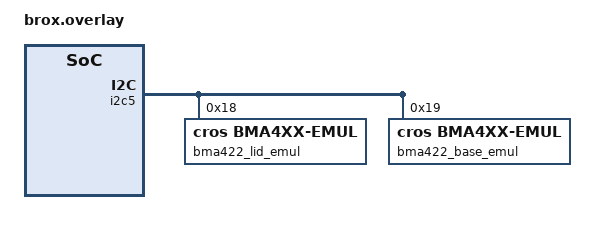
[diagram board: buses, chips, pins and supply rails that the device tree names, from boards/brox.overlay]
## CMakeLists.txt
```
# Copyright 2024 The ChromiumOS Authors
# Use of this source code is governed by a BSD-style license that can be
# found in the LICENSE file.

cmake_minimum_required(VERSION 3.20.0)

find_package(Zephyr REQUIRED HINTS "${ZEPHYR_BASE}")
project(motion_sense)
```

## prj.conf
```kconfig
# Copyright 2024 The ChromiumOS Authors
# Use of this source code is governed by a BSD-style license that can be
# found in the LICENSE file.

CONFIG_TEST=y
CONFIG_EMUL=y
CONFIG_ASSERT=y

# C++ configs:
CONFIG_CPP=y
CONFIG_REQUIRES_FULL_LIBCPP=y
CONFIG_STD_CPP20=y

CONFIG_PIGWEED_ASSERT=y

# Enable logging (needed to capture gTest output)
CONFIG_LOG=y
CONFIG_LOG_MODE_MINIMAL=y
CONFIG_PIGWEED_LOG_ZEPHYR=y
CONFIG_PIGWEED_SYS_IO=y

# Power sequencing is needed to get to S0
#CONFIG_PLATFORM_EC_HOSTCMD=y
#CONFIG_PLATFORM_EC_POWER_BUTTON=y
#CONFIG_PLATFORM_EC_POWERSEQ=y

CONFIG_SENSOR=y
CONFIG_SENSOR_ASYNC_API=y

CONFIG_PLATFORM_EC=y
CONFIG_CROS_EC=y
CONFIG_SHIMMED_TASKS=y

CONFIG_PLATFORM_EC_ACCEL_FIFO=y
CONFIG_PLATFORM_EC_SENSOR_TIGHT_TIMESTAMPS=y

# Console
CONFIG_PLATFORM_EC_CONSOLE_DEBUG=y
CONFIG_PLATFORM_EC_CONSOLE_CMD_ACCELS=y
CONFIG_SHELL_BACKEND_DUMMY=y
CONFIG_SHELL_BACKEND_SERIAL=n
CONFIG_SHELL_HELP=y
CONFIG_SERIAL=y
CONFIG_RING_BUFFER=y
```

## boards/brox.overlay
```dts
/* Copyright 2024 The ChromiumOS Authors
 * Use of this source code is governed by a BSD-style license that can be
 * found in the LICENSE file.
 */

#include <it8xxx2_emul.dts>

/* Arbitrage generates an incorrect node label when using alternate pins.
 * Create a 2nd node label on I2C3 as a workaround.
 * TODO: b/310227384 - I2C alternate selection not detected automatically.
 */
i2c3ALT: &i2c3 {
};

/ {
  gpio_interrupts: gpio-interrupts {
    compatible = "cros-ec,gpio-interrupts";
  };
};

#include "../../../program/brox/generated.dtsi"
#include "../../../program/brox/gpio.dtsi"
#include "../../../program/brox/interrupts_motionsense.dtsi"
#include "../../../program/brox/motionsense.dtsi"

&i2c5 {
		bma422_lid_emul: bma4xx@18 {
			compatible = "cros,bma4xx-emul";
			status = "okay";
			reg = <0x18>;
			motionsense-sensor = <&lid_accel>;
		};
		bma422_base_emul: bma4xx@19 {
			compatible = "cros,bma4xx-emul";
			status = "okay";
			reg = <0x19>;
			motionsense-sensor = <&base_accel>;
		};
};
```

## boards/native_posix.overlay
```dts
/* Copyright 2023 The ChromiumOS Authors
 * Use of this source code is governed by a BSD-style license that can be
 * found in the LICENSE file.
 */

/ {
	motionsense-mutex {
		compatible = "cros-ec,motionsense-mutex";
		mutex_bmi160: bmi160-mutex {
		};
	};
	motionsense-sensor-data {
		bmi160_data: bmi160-drv-data {
			compatible = "cros-ec,drvdata-bmi160";
			status = "okay";
			driver = <&accel_bmi160>;
		};
	};
	named-i2c-ports {
		compatible = "named-i2c-ports";
		named_i2c0: i2c0 {
			i2c-port = <&i2c0>;
			enum-names = "I2C_PORT_ACCEL";
		};
	};

	named-gpios {
		compatible = "named-gpios";
		/* unimplemented GPIOs */
		entering-rw {
			enum-name = "GPIO_ENTERING_RW";
		};
	};
	motionsense-sensor {
		base_accel: ms_bmi160_accel: ms-bmi160-accel {
			compatible = "cros-ec,bmi160-accel";
			status = "okay";

			active-mask = "SENSOR_ACTIVE_S0_S3_S5";
			location = "MOTIONSENSE_LOC_BASE";
			mutex = <&mutex_bmi160>;
			port = <&named_i2c0>;
			drv-data = <&bmi160_data>;
			default-range = <4>;
			i2c-spi-addr-flags = "BMI160_ADDR0_FLAGS";
			driver = <&accel_bmi160>;
		};

		base_gyro: ms_bmi160_gyro: ms-bmi160-gyro {
			compatible = "cros-ec,bmi160-gyro";
			status = "okay";

			location = "MOTIONSENSE_LOC_BASE";
			mutex = <&mutex_bmi160>;
			port = <&named_i2c0>;
			drv-data = <&bmi160_data>;
			default-range = <1000>; /* dps */
			i2c-spi-addr-flags = "BMI160_ADDR0_FLAGS";
			driver = <&accel_bmi160>;
		};
	};
};

&i2c0 {
	accel_bmi160: bmi160@68 {
		compatible = "bosch,bmi160";
		reg = <0x68>;
	};
};
```

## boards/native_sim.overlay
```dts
/* Copyright 2024 The ChromiumOS Authors
 * Use of this source code is governed by a BSD-style license that can be
 * found in the LICENSE file.
 */

/ {
  chosen {
		zephyr,shell-uart = &test_uart;
  };

	ec-console {
		compatible = "ec-console";
		disabled = "events", "lpc", "hostcmd";
	};

	test_uart: uart@55556666 {
	   compatible = "vnd,serial";
	   reg = <0x55556666 0x1000>;
	   status = "okay";
	   buffer-size = <200>;
	};
};
```

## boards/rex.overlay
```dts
/* Copyright 2024 The ChromiumOS Authors
 * Use of this source code is governed by a BSD-style license that can be
 * found in the LICENSE file.
 */

#include <program/rex/motionsense.dtsi>
#include <dt-bindings/gpio_defines.h>

/ {
  gpio-interrupts {
    compatible = "cros-ec,gpio-interrupts";

		int_imu: ec_imu {
			irq-pin = <&gpio_ec_imu_int_r_l>;
			flags = <GPIO_INT_EDGE_FALLING>;
			handler = "lsm6dso_interrupt";
		};
		int_als_rgb: ec_als_rgb {
			irq-pin = <&gpio_ec_als_rgb_int_r_l>;
			flags = <GPIO_INT_EDGE_FALLING>;
			handler = "tcs3400_interrupt";
		};
		int_accel: ec_accel {
			irq-pin = <&gpio_ec_accel_int_r_l>;
			flags = <GPIO_INT_EDGE_FALLING>;
			handler = "lis2dw12_interrupt";
		};
  };

  named-gpios {
    compatible = "named-gpios";
		gpio_ec_imu_int_r_l: ec_imu_int_r_l {
			gpios = <&gpio0 0 GPIO_INPUT>;
		};
		gpio_ec_als_rgb_int_r_l: ec_als_rgb_int_r_l {
			gpios = <&gpio0 1 GPIO_INPUT>;
		};
		gpio_ec_accel_int_r_l: ec_accel_int_r_l {
			gpios = <&gpio0 2 GPIO_INPUT>;
		};
    /* unimplemented GPIOs */
    entering-rw {
      enum-name = "GPIO_ENTERING_RW";
    };
  };

  named-i2c-ports {
    compatible = "named-i2c-ports";
    i2c_ec_i2c_sensor_scl_r: ec_i2c_sensor {
      i2c-port = <&i2c0>;
      enum-names = "I2C_PORT_SENSOR";
    };
  };
};

&i2c0 {
  lis2dw12_emul: lis2dw12@18 {
    compatible = "cros,lis2dw12-emul";
    status = "okay";
    reg = <0x18>;
  };
  lsm6dso_emul: lsm6dso@6a {
    compatible = "cros,lsm6dso-emul";
    status = "okay";
    reg = <0x6a>;
  };
};
```

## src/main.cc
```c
/* Copyright 2023 The ChromiumOS Authors
 * Use of this source code is governed by a BSD-style license that can be
 * found in the LICENSE file.
 */

#include "motion_sense.h"
#include "hooks.h"

#include <zephyr/kernel.h>

#include <gtest/gtest.h>
#include <pw_unit_test/logging_event_handler.h>
#include <pw_log/log.h>

static void main_init_hook()
{
	testing::InitGoogleTest(nullptr, nullptr);
	pw::unit_test::LoggingEventHandler handler;
	pw::unit_test::RegisterEventHandler(&handler);
	RUN_ALL_TESTS();
}
DECLARE_HOOK(HOOK_INIT, main_init_hook, HOOK_PRIO_LAST);

TEST(MotionSense, CheckSensorCount)
{
	EXPECT_EQ(motion_sensor_count, 2);
}
```

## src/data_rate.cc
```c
/* Copyright 2023 The ChromiumOS Authors.
 * Use of this source code is governed by a BSD-style license that can be
 * found in the LICENSE file.
 */

#include "accelgyro.h"
#include "bmi160.h"
#include "emul_bmi160.h"
#include "math_util.h"
#include "test/motion_sense/fixtures.h"

#include <gtest/gtest.h>

namespace
{
constexpr int kRoundDown = 0;
constexpr int kRoundUp = 1;
} /* namespace */

TEST_F(Bmi160, Accel_SetDataRate)
{
	uint8_t reg_value;

	for (int expected_reg_value = 1; expected_reg_value <= 12;
	     ++expected_reg_value) {
		int rate = 25000 * BIT(expected_reg_value - 1) / 32;

		EXPECT_EQ(EC_SUCCESS, ms_accel->drv->set_data_rate(
					      ms_accel, rate, kRoundDown))
			<< "rate=" << rate << ", rounding DOWN";
		EXPECT_EQ(0, emul_bmi160_get_reg_value(
				     emul, BMI160_REG_ACC_CONF, &reg_value, 1))
			<< "rate=" << rate << ", rounding DOWN";
		EXPECT_EQ(expected_reg_value,
			  FIELD_GET(BMI160_ACC_CONF_ODR_MASK, reg_value))
			<< "rate=" << rate << ", rounding DOWN";

		EXPECT_EQ(EC_SUCCESS, ms_accel->drv->set_data_rate(
					      ms_accel, rate + 1, kRoundDown))
			<< "rate=" << rate + 1 << ", rounding DOWN";
		EXPECT_EQ(0, emul_bmi160_get_reg_value(
				     emul, BMI160_REG_ACC_CONF, &reg_value, 1))
			<< "rate=" << rate + 1 << ", rounding DOWN";
		EXPECT_EQ(expected_reg_value,
			  FIELD_GET(BMI160_ACC_CONF_ODR_MASK, reg_value))
			<< "rate=" << rate + 1 << ", rounding DOWN";

		EXPECT_EQ(EC_SUCCESS, ms_accel->drv->set_data_rate(
					      ms_accel, rate - 1, kRoundUp))
			<< "rate=" << rate - 1 << ", rounding UP";
		EXPECT_EQ(0, emul_bmi160_get_reg_value(
				     emul, BMI160_REG_ACC_CONF, &reg_value, 1))
			<< "rate=" << rate - 1 << ", rounding UP";
		EXPECT_EQ(expected_reg_value,
			  FIELD_GET(BMI160_ACC_CONF_ODR_MASK, reg_value))
			<< "rate=" << rate - 1 << ", rounding UP";
	}
}

TEST_F(Bmi160, Accel_GetDataRate)
{
	for (int expected_reg_value = 1; expected_reg_value <= 12;
	     ++expected_reg_value) {
		int rate = 25000 * BIT(expected_reg_value - 1) / 32;

		EXPECT_EQ(EC_SUCCESS, ms_accel->drv->set_data_rate(
					      ms_accel, rate, kRoundDown))
			<< "rate=" << rate << ", rounding DOWN";
		EXPECT_EQ(rate, ms_accel->drv->get_data_rate(ms_accel))
			<< "rate=" << rate << ", rounding DOWN";
	}
}

TEST_F(Bmi160, Gyro_SetDataRate)
{
	uint8_t reg_value;

	for (int expected_reg_value = 6; expected_reg_value <= 13;
	     ++expected_reg_value) {
		int rate = 100000 * BIT(expected_reg_value) / 256;

		EXPECT_EQ(EC_SUCCESS, ms_gyro->drv->set_data_rate(ms_gyro, rate,
								  kRoundDown))
			<< "rate=" << rate << ", rounding DOWN";
		EXPECT_EQ(0, emul_bmi160_get_reg_value(
				     emul, BMI160_REG_GYR_CONF, &reg_value, 1))
			<< "rate=" << rate << ", rounding DOWN";
		EXPECT_EQ(expected_reg_value,
			  FIELD_GET(BMI160_GYR_CONF_ODR_MASK, reg_value))
			<< "rate=" << rate << ", rounding DOWN";

		EXPECT_EQ(EC_SUCCESS, ms_gyro->drv->set_data_rate(
					      ms_gyro, rate + 1, kRoundDown))
			<< "rate=" << rate + 1 << ", rounding DOWN";
		EXPECT_EQ(0, emul_bmi160_get_reg_value(
				     emul, BMI160_REG_GYR_CONF, &reg_value, 1))
			<< "rate=" << rate + 1 << ", rounding DOWN";
		EXPECT_EQ(expected_reg_value,
			  FIELD_GET(BMI160_GYR_CONF_ODR_MASK, reg_value))
			<< "rate=" << rate + 1 << ", rounding DOWN";

		EXPECT_EQ(EC_SUCCESS, ms_gyro->drv->set_data_rate(
					      ms_gyro, rate - 1, kRoundUp))
			<< "rate=" << rate - 1 << ", rounding UP";
		EXPECT_EQ(0, emul_bmi160_get_reg_value(
				     emul, BMI160_REG_GYR_CONF, &reg_value, 1))
			<< "rate=" << rate - 1 << ", rounding UP";
		EXPECT_EQ(expected_reg_value,
			  FIELD_GET(BMI160_GYR_CONF_ODR_MASK, reg_value))
			<< "rate=" << rate - 1 << ", rounding UP";
	}
}

TEST_F(Bmi160, Gyro_GetDataRate)
{
	for (int expected_reg_value = 6; expected_reg_value <= 13;
	     ++expected_reg_value) {
		int rate = 100000 * BIT(expected_reg_value) / 256;

		EXPECT_EQ(EC_SUCCESS, ms_gyro->drv->set_data_rate(ms_gyro, rate,
								  kRoundDown))
			<< "rate=" << rate << ", rounding DOWN";
		EXPECT_EQ(rate, ms_gyro->drv->get_data_rate(ms_gyro))
			<< "rate=" << rate << ", rounding DOWN";
	}
}
```

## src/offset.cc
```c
/* Copyright 2023 The ChromiumOS Authors.
 * Use of this source code is governed by a BSD-style license that can be
 * found in the LICENSE file.
 */

#include "accelgyro.h"
#include "bmi160.h"
#include "emul_bmi160.h"
#include "math_util.h"
#include "test/motion_sense/fixtures.h"

#include <zephyr/drivers/sensor_attribute_types.h>

#include <gtest/gtest.h>

TEST_F(Bmi160, Accel_GetOffset)
{
	struct sensor_three_axis_attribute offset = {
		.shift = 0,
		.x = round_divide(9.80665f * (int64_t)INT32_MAX, 10),
		.y = round_divide(9.80665f * (int64_t)INT32_MAX, 20),
		.z = round_divide(-9.80665f * (int64_t)INT32_MAX, 30),
	};

	/* Set emulator offset */
	ASSERT_EQ(0, emul_sensor_backend_set_attribute(
			     emul, SENSOR_CHAN_ACCEL_XYZ, SENSOR_ATTR_OFFSET,
			     &offset));

	/* Query the chip's accuracy */
	int epsilon_mg = get_accel_offset_epsilon(emul);

	int16_t ret_offsets[3];
	int16_t temperature;

	ASSERT_EQ(EC_SUCCESS, ms_accel->drv->get_offset(ms_accel, ret_offsets,
							&temperature));
	EXPECT_EQ(EC_MOTION_SENSE_INVALID_CALIB_TEMP, temperature);
	EXPECT_NEAR(100, ret_offsets[0], epsilon_mg);
	EXPECT_NEAR(50, ret_offsets[1], epsilon_mg);
	EXPECT_NEAR(-33, ret_offsets[2], epsilon_mg);

	const mat33_fp_t test_rotation = { { 0, FLOAT_TO_FP(1), 0 },
					   { FLOAT_TO_FP(-1), 0, 0 },
					   { 0, 0, FLOAT_TO_FP(-1) } };

	ms_accel->rot_standard_ref = &test_rotation;

	ASSERT_EQ(EC_SUCCESS, ms_accel->drv->get_offset(ms_accel, ret_offsets,
							&temperature));
	EXPECT_EQ(EC_MOTION_SENSE_INVALID_CALIB_TEMP, temperature);
	EXPECT_NEAR(-50, ret_offsets[0], epsilon_mg);
	EXPECT_NEAR(100, ret_offsets[1], epsilon_mg);
	EXPECT_NEAR(33, ret_offsets[2], epsilon_mg);
}

TEST_F(Bmi160, Gyro_GetOffset)
{
	struct sensor_three_axis_attribute offset = {
		.shift = 0,
		.x = round_divide(INT64_C(125) * 3.141593f * (int64_t)INT32_MAX,
				  180 * 100),
		.y = round_divide(INT64_C(125) * 3.141593f * (int64_t)INT32_MAX,
				  180 * 200),
		.z = round_divide(INT64_C(-125) * 3.141593f *
					  (int64_t)INT32_MAX,
				  180 * 300),
	};

	/* Set emulator offset */
	ASSERT_EQ(0, emul_sensor_backend_set_attribute(
			     emul, SENSOR_CHAN_GYRO_XYZ, SENSOR_ATTR_OFFSET,
			     &offset));

	/* Query the chip's accuracy */
	int epsilon_mdeg_per_s = get_gyro_offset_epsilon(emul);

	int16_t ret_offsets[3];
	int16_t temperature;

	ASSERT_EQ(EC_SUCCESS,
		  ms_gyro->drv->get_offset(ms_gyro, ret_offsets, &temperature));
	EXPECT_EQ(EC_MOTION_SENSE_INVALID_CALIB_TEMP, temperature);
	EXPECT_NEAR(1250, ret_offsets[0], epsilon_mdeg_per_s);
	EXPECT_NEAR(625, ret_offsets[1], epsilon_mdeg_per_s);
	EXPECT_NEAR(-416, ret_offsets[2], epsilon_mdeg_per_s);

	const mat33_fp_t test_rotation = { { 0, FLOAT_TO_FP(1), 0 },
					   { FLOAT_TO_FP(-1), 0, 0 },
					   { 0, 0, FLOAT_TO_FP(-1) } };

	ms_gyro->rot_standard_ref = &test_rotation;

	ASSERT_EQ(EC_SUCCESS,
		  ms_gyro->drv->get_offset(ms_gyro, ret_offsets, &temperature));
	EXPECT_EQ(EC_MOTION_SENSE_INVALID_CALIB_TEMP, temperature);
	EXPECT_NEAR(-625, ret_offsets[0], epsilon_mdeg_per_s);
	EXPECT_NEAR(1250, ret_offsets[1], epsilon_mdeg_per_s);
	EXPECT_NEAR(416, ret_offsets[2], epsilon_mdeg_per_s);
}

TEST_F(Bmi160, Accel_SetOffset)
{
	/* BMI driver accept value in mg units */
	int16_t input_v[3] = { 1000 / 10, 1000 / 20, -1000 / 30 };
	uint8_t reg_values[7];
	int16_t temp = 0;

	ASSERT_EQ(EC_SUCCESS,
		  ms_accel->drv->set_offset(ms_accel, input_v, temp));
	ASSERT_EQ(0, emul_bmi160_get_reg_value(emul, BMI160_REG_OFFSET_ACC_X,
					       reg_values, 7));
	EXPECT_EQ(0x19, reg_values[0]);
	EXPECT_EQ(0x0c, reg_values[1]);
	EXPECT_EQ(0xf8, reg_values[2]);
	EXPECT_EQ(0x00, reg_values[3]);
	EXPECT_EQ(0x00, reg_values[4]);
	EXPECT_EQ(0x00, reg_values[5]);
	EXPECT_EQ(BIT(BMI160_ACC_OFS_EN_POS), reg_values[6]);
}

TEST_F(Bmi160, Accel_SetOffset_MinMax)
{
	/* BMI driver accept value in mg units */
	int16_t input_v[3] = { INT16_MAX, INT16_MIN, 0 };
	uint8_t reg_values[7];
	int16_t temp = 0;

	ASSERT_EQ(EC_SUCCESS,
		  ms_accel->drv->set_offset(ms_accel, input_v, temp));
	ASSERT_EQ(0, emul_bmi160_get_reg_value(emul, BMI160_REG_OFFSET_ACC_X,
					       reg_values, 7));
	EXPECT_EQ(0x7f, reg_values[0]);
	EXPECT_EQ(0x80, reg_values[1]);
	EXPECT_EQ(0x00, reg_values[2]);
	EXPECT_EQ(0x00, reg_values[3]);
	EXPECT_EQ(0x00, reg_values[4]);
	EXPECT_EQ(0x00, reg_values[5]);
	EXPECT_EQ(BIT(BMI160_ACC_OFS_EN_POS), reg_values[6]);
}

TEST_F(Bmi160, Gyro_SetOffset)
{
	/* BMI driver accept value in mdeg/s units */
	int16_t input_v[3] = { 125000 / 100, 125000 / 200, -125000 / 300 };
	uint8_t reg_values[7];
	int16_t temp = 0;

	ASSERT_EQ(EC_SUCCESS, ms_gyro->drv->set_offset(ms_gyro, input_v, temp));
	ASSERT_EQ(0, emul_bmi160_get_reg_value(emul, BMI160_REG_OFFSET_ACC_X,
					       reg_values, 7));
	EXPECT_EQ(0x00, reg_values[0]);
	EXPECT_EQ(0x00, reg_values[1]);
	EXPECT_EQ(0x00, reg_values[2]);
	EXPECT_EQ(0x14, reg_values[3]);
	EXPECT_EQ(0x0a, reg_values[4]);
	EXPECT_EQ(0xfa, reg_values[5]);
	EXPECT_EQ(1, FIELD_GET(BIT(BMI160_GYR_OFS_EN_POS), reg_values[6]));
	EXPECT_EQ(0x03, FIELD_GET(BMI160_GYR_MSB_OFS_Z_MASK, reg_values[6]));
}

TEST_F(Bmi160, Gyro_SetOffset_MinMax)
{
	/* BMI driver accept value in mdeg/s units */
	int16_t input_v[3] = { INT16_MAX, INT16_MIN, 0 };
	uint8_t reg_values[7];
	int16_t temp = 0;

	ASSERT_EQ(EC_SUCCESS, ms_gyro->drv->set_offset(ms_gyro, input_v, temp));
	ASSERT_EQ(0, emul_bmi160_get_reg_value(emul, BMI160_REG_OFFSET_ACC_X,
					       reg_values, 7));
	EXPECT_EQ(0x00, reg_values[0]);
	EXPECT_EQ(0x00, reg_values[1]);
	EXPECT_EQ(0x00, reg_values[2]);
	EXPECT_EQ(0xff, reg_values[3]);
	EXPECT_EQ(0x00, reg_values[4]);
	EXPECT_EQ(0x00, reg_values[5]);
	EXPECT_EQ(1, FIELD_GET(BIT(BMI160_GYR_OFS_EN_POS), reg_values[6]));
	EXPECT_EQ(0x02, FIELD_GET(BMI160_GYR_MSB_OFS_Y_MASK, reg_values[6]));
}
```

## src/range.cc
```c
/* Copyright 2023 The ChromiumOS Authors.
 * Use of this source code is governed by a BSD-style license that can be
 * found in the LICENSE file.
 */

#include "accelgyro.h"
#include "bmi160.h"
#include "emul_bmi160.h"
#include "math_util.h"
#include "test/motion_sense/fixtures.h"

#include <gtest/gtest.h>

namespace
{
constexpr int kRoundDown = 0;
constexpr int kRoundUp = 1;
} /* namespace */

TEST_F(Bmi160, Accel_SetRange)
{
	uint8_t reg_value;

	for (int range_g = 2; range_g <= 16; range_g *= 2) {
		EXPECT_EQ(EC_SUCCESS, ms_accel->drv->set_range(
					      ms_accel, range_g, kRoundDown))
			<< "range=" << range_g << ", rounding DOWN";
		EXPECT_EQ(0, emul_bmi160_get_reg_value(
				     emul, BMI160_REG_ACC_RANGE, &reg_value, 1))
			<< "range=" << range_g << ", rounding DOWN";
		EXPECT_EQ(range_g, bmi160_acc_reg_val_to_range(reg_value))
			<< "reg_value=" << reg_value;

		EXPECT_EQ(EC_SUCCESS,
			  ms_accel->drv->set_range(ms_accel, range_g + 1,
						   kRoundDown))
			<< "range=" << range_g + 1 << ", rounding DOWN";
		EXPECT_EQ(0, emul_bmi160_get_reg_value(
				     emul, BMI160_REG_ACC_RANGE, &reg_value, 1))
			<< "range=" << range_g + 1 << ", rounding DOWN";
		EXPECT_EQ(range_g, bmi160_acc_reg_val_to_range(reg_value))
			<< "range=" << range_g + 1
			<< ", reg_value=" << reg_value;

		EXPECT_EQ(EC_SUCCESS, ms_accel->drv->set_range(
					      ms_accel, range_g - 1, kRoundUp))
			<< "range=" << range_g - 1 << ", rounding UP";
		EXPECT_EQ(0, emul_bmi160_get_reg_value(
				     emul, BMI160_REG_ACC_RANGE, &reg_value, 1))
			<< "range=" << range_g - 1 << ", rounding UP";
		EXPECT_EQ(range_g, bmi160_acc_reg_val_to_range(reg_value))
			<< "range=" << range_g - 1
			<< ", reg_value=" << reg_value;
	}
}

TEST_F(Bmi160, Gyro_SetRange)
{
	uint8_t reg_value;

	for (int range_deg_per_sec = 125; range_deg_per_sec <= 2000;
	     range_deg_per_sec *= 2) {
		EXPECT_EQ(EC_SUCCESS,
			  ms_gyro->drv->set_range(ms_gyro, range_deg_per_sec,
						  kRoundDown))
			<< "range=" << range_deg_per_sec << ", rounding DOWN";
		EXPECT_EQ(0, emul_bmi160_get_reg_value(
				     emul, BMI160_REG_GYR_RANGE, &reg_value, 1))
			<< "range=" << range_deg_per_sec << ", rounding DOWN";
		EXPECT_EQ(range_deg_per_sec,
			  bmi160_gyr_reg_val_to_range(reg_value))
			<< "reg_value=" << reg_value;

		EXPECT_EQ(EC_SUCCESS,
			  ms_gyro->drv->set_range(ms_gyro, range_deg_per_sec + 1,
						  kRoundDown))
			<< "range=" << range_deg_per_sec + 1 << ", rounding DOWN";
		EXPECT_EQ(0, emul_bmi160_get_reg_value(
				     emul, BMI160_REG_GYR_RANGE, &reg_value, 1))
			<< "range=" << range_deg_per_sec + 1 << ", rounding DOWN";
		EXPECT_EQ(range_deg_per_sec,
			  bmi160_gyr_reg_val_to_range(reg_value))
			<< "range=" << range_deg_per_sec + 1
			<< "reg_value=" << reg_value;

		EXPECT_EQ(EC_SUCCESS,
			  ms_gyro->drv->set_range(ms_gyro, range_deg_per_sec - 1,
						  kRoundUp))
			<< "range=" << range_deg_per_sec - 1 << ", rounding UP";
		EXPECT_EQ(0, emul_bmi160_get_reg_value(
				     emul, BMI160_REG_GYR_RANGE, &reg_value, 1))
			<< "range=" << range_deg_per_sec - 1 << ", rounding UP";
		EXPECT_EQ(range_deg_per_sec,
			  bmi160_gyr_reg_val_to_range(reg_value))
			<< "range=" << range_deg_per_sec - 1
			<< "reg_value=" << reg_value;
	}
}
```

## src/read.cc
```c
/* Copyright 2023 The ChromiumOS Authors.
 * Use of this source code is governed by a BSD-style license that can be
 * found in the LICENSE file.
 */

#include "accelgyro.h"
#include "bmi160.h"
#include "emul_bmi160.h"
#include "math_util.h"
#include "test/motion_sense/fixtures.h"

#include <zephyr/drivers/sensor.h>

#include <gtest/gtest.h>

namespace
{
constexpr int kRoundDown = 0;
constexpr double kGravity = 9.80665;
constexpr double kPi = 3.141592654;
} /* namespace */

TEST_F(Bmi160, Accel_Read)
{
	constexpr const int8_t kExpectedValueShift = 5;
	constexpr const q31_t kExpectedValues[] = {
		static_cast<q31_t>(-1.75 * kGravity *
				   BIT(31 - kExpectedValueShift)),
		static_cast<q31_t>(-0.11 * kGravity *
				   BIT(31 - kExpectedValueShift)),
		static_cast<q31_t>(1.88 * kGravity *
				   BIT(31 - kExpectedValueShift)),
	};
	intv3_t values_mg;

	ASSERT_EQ(EC_SUCCESS,
		  ms_accel->drv->set_range(ms_accel, 2, kRoundDown));
	ASSERT_EQ(0, emul_sensor_backend_set_channel(emul, SENSOR_CHAN_ACCEL_X,
						     &kExpectedValues[0],
						     kExpectedValueShift));
	ASSERT_EQ(0, emul_sensor_backend_set_channel(emul, SENSOR_CHAN_ACCEL_Y,
						     &kExpectedValues[1],
						     kExpectedValueShift));
	ASSERT_EQ(0, emul_sensor_backend_set_channel(emul, SENSOR_CHAN_ACCEL_Z,
						     &kExpectedValues[2],
						     kExpectedValueShift));
	ASSERT_EQ(EC_SUCCESS, ms_accel->drv->read(ms_accel, values_mg));

	EXPECT_NEAR(-1750, values_mg[0], 5);
	EXPECT_NEAR(-110, values_mg[1], 5);
	EXPECT_NEAR(1880, values_mg[2], 5);
}

TEST_F(Bmi160, Gyro_Read)
{
	constexpr const int8_t kExpectedValueShift = 3;
	constexpr const q31_t kExpectedValues[] = {
		static_cast<q31_t>(-125.0 * kPi *
				   BIT(31 - kExpectedValueShift) / 180.0),
		static_cast<q31_t>(-7.3 * kPi * BIT(31 - kExpectedValueShift) /
				   180.0),
		static_cast<q31_t>(87.4 * kPi * BIT(31 - kExpectedValueShift) /
				   180.0),
	};
	intv3_t values_mdeg_per_sec;

	ASSERT_EQ(EC_SUCCESS,
		  ms_gyro->drv->set_range(ms_gyro, 250, kRoundDown));
	ASSERT_EQ(0, emul_sensor_backend_set_channel(emul, SENSOR_CHAN_GYRO_X,
						     &kExpectedValues[0],
						     kExpectedValueShift));
	ASSERT_EQ(0, emul_sensor_backend_set_channel(emul, SENSOR_CHAN_GYRO_Y,
						     &kExpectedValues[1],
						     kExpectedValueShift));
	ASSERT_EQ(0, emul_sensor_backend_set_channel(emul, SENSOR_CHAN_GYRO_Z,
						     &kExpectedValues[2],
						     kExpectedValueShift));
	ASSERT_EQ(EC_SUCCESS, ms_gyro->drv->read(ms_gyro, values_mdeg_per_sec));

	EXPECT_NEAR(-125000, values_mdeg_per_sec[0], 5);
	EXPECT_NEAR(-7300, values_mdeg_per_sec[1], 5);
	EXPECT_NEAR(87400, values_mdeg_per_sec[2], 5);
}
```

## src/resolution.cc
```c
/* Copyright 2023 The ChromiumOS Authors.
 * Use of this source code is governed by a BSD-style license that can be
 * found in the LICENSE file.
 */

#include "accelgyro.h"
#include "bmi160.h"
#include "emul_bmi160.h"
#include "math_util.h"
#include "test/motion_sense/fixtures.h"

#include <gtest/gtest.h>

TEST_F(Bmi160, Accel_GetResolution)
{
	EXPECT_EQ(16, ms_accel->drv->get_resolution(ms_accel));
}

TEST_F(Bmi160, Gyro_GetResolution)
{
	EXPECT_EQ(16, ms_gyro->drv->get_resolution(ms_gyro));
}
```

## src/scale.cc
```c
/* Copyright 2023 The ChromiumOS Authors.
 * Use of this source code is governed by a BSD-style license that can be
 * found in the LICENSE file.
 */

#include "accelgyro.h"
#include "bmi160.h"
#include "emul_bmi160.h"
#include "math_util.h"
#include "test/motion_sense/fixtures.h"

#include <gtest/gtest.h>

TEST_F(Bmi160, Accel_SetGetScale)
{
	const uint16_t expected_scale[] = { 1, 15, 20 };
	uint16_t scale[3];
	int16_t temperature;

	EXPECT_EQ(EC_SUCCESS,
		  ms_accel->drv->set_scale(ms_accel, expected_scale, 0));
	EXPECT_EQ(EC_SUCCESS,
		  ms_accel->drv->get_scale(ms_accel, scale, &temperature));
	EXPECT_EQ(expected_scale[0], scale[0]);
	EXPECT_EQ(expected_scale[1], scale[1]);
	EXPECT_EQ(expected_scale[2], scale[2]);
	EXPECT_EQ(EC_MOTION_SENSE_INVALID_CALIB_TEMP, temperature);
}

TEST_F(Bmi160, Gyro_SetGetScale)
{
	const uint16_t expected_scale[] = { 17, 3, 33 };
	uint16_t scale[3];
	int16_t temperature;

	EXPECT_EQ(EC_SUCCESS,
		  ms_accel->drv->set_scale(ms_accel, expected_scale, 0));
	EXPECT_EQ(EC_SUCCESS,
		  ms_accel->drv->get_scale(ms_accel, scale, &temperature));
	EXPECT_EQ(expected_scale[0], scale[0]);
	EXPECT_EQ(expected_scale[1], scale[1]);
	EXPECT_EQ(expected_scale[2], scale[2]);
	EXPECT_EQ(EC_MOTION_SENSE_INVALID_CALIB_TEMP, temperature);
}
```

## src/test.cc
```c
/* Copyright 2023 The ChromiumOS Authors
 * Use of this source code is governed by a BSD-style license that can be
 * found in the LICENSE file.
 */

#include "motion_sense.h"

#include <zephyr/ztest.h>

ZTEST_SUITE(motion_sense, NULL, NULL, NULL, NULL, NULL);

ZTEST(motion_sense, test_stub)
{
	zassert_equal(motion_sensor_count, 2);
}
```
